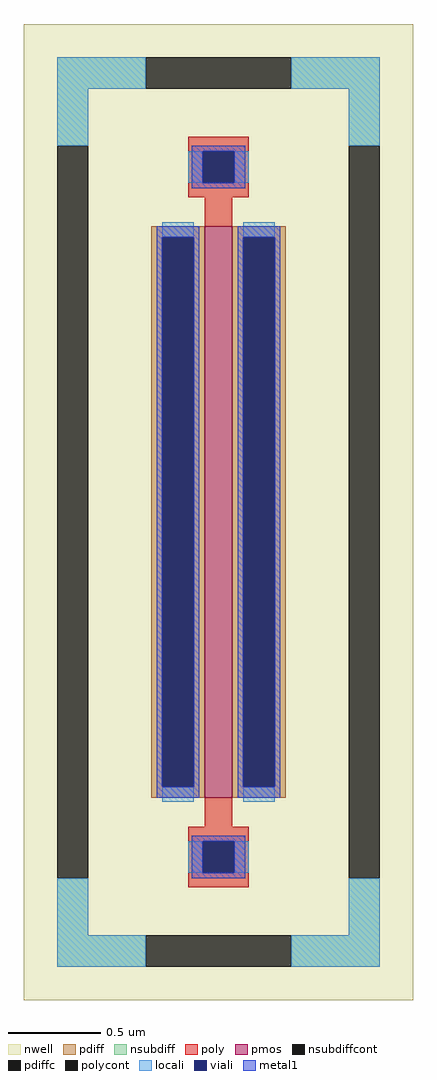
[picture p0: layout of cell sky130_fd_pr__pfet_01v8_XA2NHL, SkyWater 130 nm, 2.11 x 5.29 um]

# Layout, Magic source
magic
tech sky130A
magscale 1 2
<< nwell >>
rect -211 -529 211 529
<< pmos >>
rect -15 -310 15 310
<< pdiff >>
rect -73 298 -15 310
rect -73 -298 -61 298
rect -27 -298 -15 298
rect -73 -310 -15 -298
rect 15 298 73 310
rect 15 -298 27 298
rect 61 -298 73 298
rect 15 -310 73 -298
<< pdiffc >>
rect -61 -298 -27 298
rect 27 -298 61 298
<< nsubdiff >>
rect -175 459 -79 493
rect 79 459 175 493
rect -175 397 -141 459
rect 141 397 175 459
rect -175 -459 -141 -397
rect 141 -459 175 -397
rect -175 -493 -79 -459
rect 79 -493 175 -459
<< nsubdiffcont >>
rect -79 459 79 493
rect -175 -397 -141 397
rect 141 -397 175 397
rect -79 -493 79 -459
<< poly >>
rect -33 391 33 407
rect -33 357 -17 391
rect 17 357 33 391
rect -33 341 33 357
rect -15 310 15 341
rect -15 -341 15 -310
rect -33 -357 33 -341
rect -33 -391 -17 -357
rect 17 -391 33 -357
rect -33 -407 33 -391
<< polycont >>
rect -17 357 17 391
rect -17 -391 17 -357
<< locali >>
rect -175 459 -79 493
rect 79 459 175 493
rect -175 397 -141 459
rect 141 397 175 459
rect -33 357 -17 391
rect 17 357 33 391
rect -61 298 -27 314
rect -61 -314 -27 -298
rect 27 298 61 314
rect 27 -314 61 -298
rect -33 -391 -17 -357
rect 17 -391 33 -357
rect -175 -459 -141 -397
rect 141 -459 175 -397
rect -175 -493 -79 -459
rect 79 -493 175 -459
<< viali >>
rect -17 357 17 391
rect -61 -298 -27 298
rect 27 -298 61 298
rect -17 -391 17 -357
<< metal1 >>
rect -29 391 29 397
rect -29 357 -17 391
rect 17 357 29 391
rect -29 351 29 357
rect -67 298 -21 310
rect -67 -298 -61 298
rect -27 -298 -21 298
rect -67 -310 -21 -298
rect 21 298 67 310
rect 21 -298 27 298
rect 61 -298 67 298
rect 21 -310 67 -298
rect -29 -357 29 -351
rect -29 -391 -17 -357
rect 17 -391 29 -357
rect -29 -397 29 -391
<< properties >>
string FIXED_BBOX -158 -476 158 476
string gencell sky130_fd_pr__pfet_01v8
string library sky130
string parameters w 3.1 l 0.15 m 1 nf 1 diffcov 100 polycov 100 guard 1 glc 1 grc 1 gtc 1 gbc 1 tbcov 100 rlcov 100 topc 1 botc 1 poverlap 0 doverlap 1 lmin 0.15 wmin 0.42 compatible {sky130_fd_pr__pfet_01v8  sky130_fd_pr__pfet_01v8_lvt sky130_fd_pr__pfet_01v8_hvt  sky130_fd_pr__pfet_g5v0d10v5} full_metal 1 viasrc 100 viadrn 100 viagate 100 viagb 0 viagr 0 viagl 0 viagt 0
<< end >>
